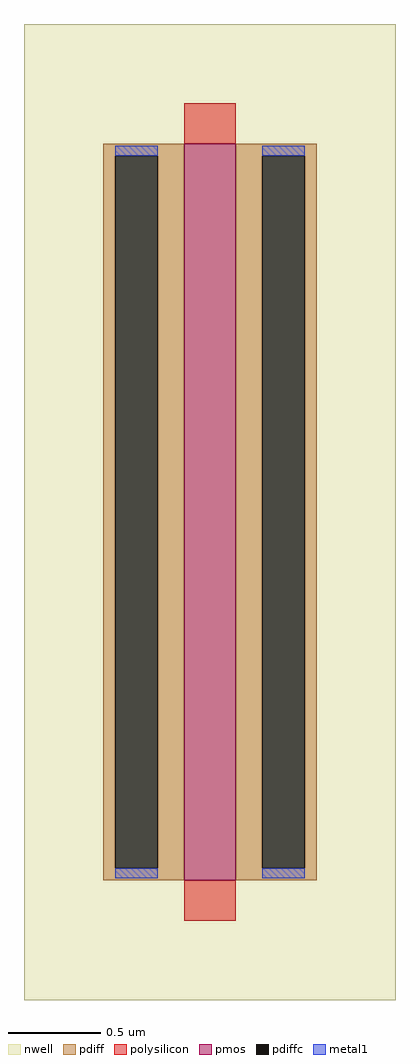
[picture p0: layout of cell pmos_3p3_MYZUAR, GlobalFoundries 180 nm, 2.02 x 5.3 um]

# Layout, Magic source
magic
tech gf180mcuC
magscale 1 10
<< nwell >>
rect -202 -530 202 530
<< pmos >>
rect -28 -400 28 400
<< pdiff >>
rect -116 387 -28 400
rect -116 -387 -103 387
rect -57 -387 -28 387
rect -116 -400 -28 -387
rect 28 387 116 400
rect 28 -387 57 387
rect 103 -387 116 387
rect 28 -400 116 -387
<< pdiffc >>
rect -103 -387 -57 387
rect 57 -387 103 387
<< polysilicon >>
rect -28 400 28 444
rect -28 -444 28 -400
<< metal1 >>
rect -103 387 -57 398
rect -103 -398 -57 -387
rect 57 387 103 398
rect 57 -398 103 -387
<< properties >>
string gencell pmos_3p3
string library gf180mcu
string parameters w 4 l 0.280 m 1 nf 1 diffcov 100 polycov 100 guard 0 glc 0 grc 0 gtc 0 gbc 0 tbcov 100 rlcov 100 topc 0 botc 0 poverlap 0 doverlap 1 lmin 0.28 wmin 0.22 full_metal 0 compatible {pmos_3p3 pmos_6p0}
<< end >>
